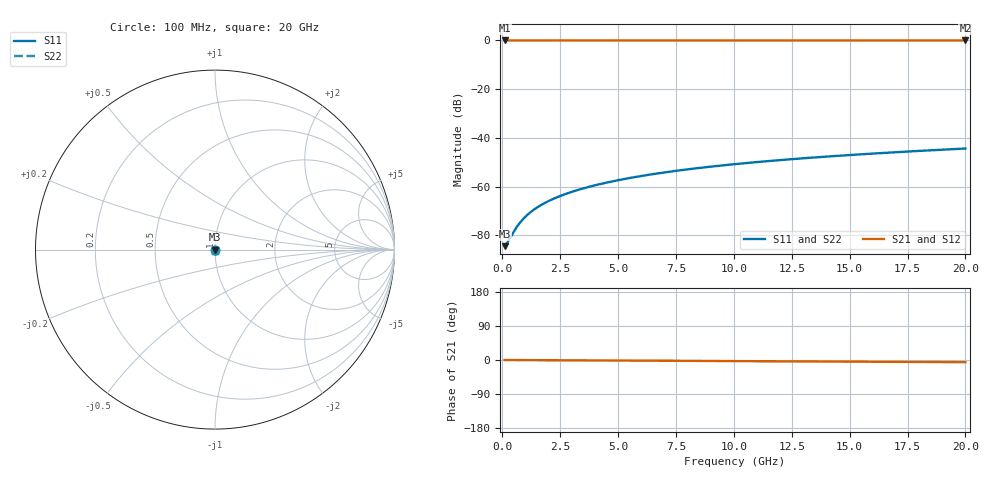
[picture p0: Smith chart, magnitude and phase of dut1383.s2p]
! Touchstone file exported from HFSS 2026.1.0
!  File:  C:/ffzhzh/LocalFiles/Ansys_Project_Files/temp_train_TSV_1383_1783196502_18472.aedt
!  Generated:  04:23:09 AM Jul  5, 2026
!  Design:  TSV
!  Project:  temp_train_TSV_1383_1783196502_18472
! Variables:
!  h_bsmrdl = 2um
!  h_ox = 20um
!  h_rdl = 5um
!  h_sub = 53.17um
!  h_tmrdl = 5um
!  h_tsv = 53.17um
!  h_via = 3um
!  l_bsmrdl = 300um
!  l_sub = 427.92um
!  l_tmrdl = 200um
!  m_sub = 200um
!  pitch = 51.89um
!  r_tsv = 13.96um
!  s_tmrdl = 10um
!  w_bsmrdl = 18um
!  w_sub = 500um
!  w_tmrdl = 12um
!  x_tsv_center1 = 206um
!  x_tsv_center2 = 524um
!  x_tsv_center3 = 736um
!  x_tsv_center4 = 1054um
!  x_tsv_center5 = 1266um
!  x_tsv_center6 = 1584um
# GHz S MA R 50.000000
! Terminal data exported
! Port[1] = TSV1_1_T1
! Port[2] = TSV1_1_T2
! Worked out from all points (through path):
!   200 points, 100 MHz to 20 GHz, reference 50 ohm
!   highest |S21| = 0.00 dB at 100 MHz (marker M1); lowest = 0.0 dB at 20 GHz (marker M2)
!   lowest |S11| = -84.4 dB at 100 MHz (marker M3), VSWR 1.00, Z = 50 - j0.000139 ohm
!   |S11| at or under -10 dB: start of sweep to end of sweep
!   |S22| runs from -84.4 to -44.3 dB; largest |S21 - S12| = 1e-15
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0.1  6.02e-05 -1.3  0.9999 -0.0  0.9999 -0.0  6.02e-05 -1.3
! Gamma 0 0 0 0
! Port Impedance 50 0 50 0
0.4  0.000101 -14.4  0.9999 -0.1  0.9999 -0.1  0.000101 -14.4
0.6  0.0001436 -25.6  0.9999 -0.2  0.9999 -0.2  0.0001436 -25.6
0.7  0.0001672 -30.6  0.9999 -0.2  0.9999 -0.2  0.0001672 -30.6
0.9  0.0002169 -39.0  0.9998 -0.3  0.9998 -0.3  0.0002169 -39.0
1.2  0.0002945 -48.3  0.9998 -0.4  0.9998 -0.4  0.0002945 -48.3
1.4  0.0003473 -52.9  0.9998 -0.4  0.9998 -0.4  0.0003473 -52.9
1.6  0.0004005 -56.5  0.9998 -0.5  0.9998 -0.5  0.0004005 -56.5
2  0.000508 -61.8  0.9998 -0.6  0.9998 -0.6  0.000508 -61.8
2.4  0.0006167 -65.5  0.9997 -0.7  0.9997 -0.7  0.0006167 -65.5
2.9  0.0007547 -68.8  0.9997 -0.8  0.9997 -0.8  0.0007547 -68.8
3.5  0.0009233 -71.5  0.9997 -1.0  0.9997 -1.0  0.0009233 -71.5
4.2  0.001124 -73.8  0.9997 -1.2  0.9997 -1.2  0.001124 -73.8
5  0.001358 -75.7  0.9996 -1.5  0.9996 -1.5  0.001358 -75.7
5.9  0.001627 -77.4  0.9996 -1.7  0.9996 -1.7  0.001627 -77.4
6.8  0.001899 -78.8  0.9996 -2.0  0.9996 -2.0  0.001899 -78.8
8.3  0.00236 -80.7  0.9995 -2.4  0.9995 -2.4  0.00236 -80.7
10.1  0.002918 -82.5  0.9995 -2.9  0.9995 -2.9  0.002918 -82.5
11.7  0.003419 -83.8  0.9994 -3.4  0.9994 -3.4  0.003419 -83.8
13.4  0.003954 -85.1  0.9994 -3.9  0.9994 -3.9  0.003954 -85.1
16.7  0.005002 -87.0  0.9993 -4.8  0.9993 -4.8  0.005002 -87.1
20  0.006068 -88.7  0.9992 -5.8  0.9992 -5.8  0.006068 -88.7
